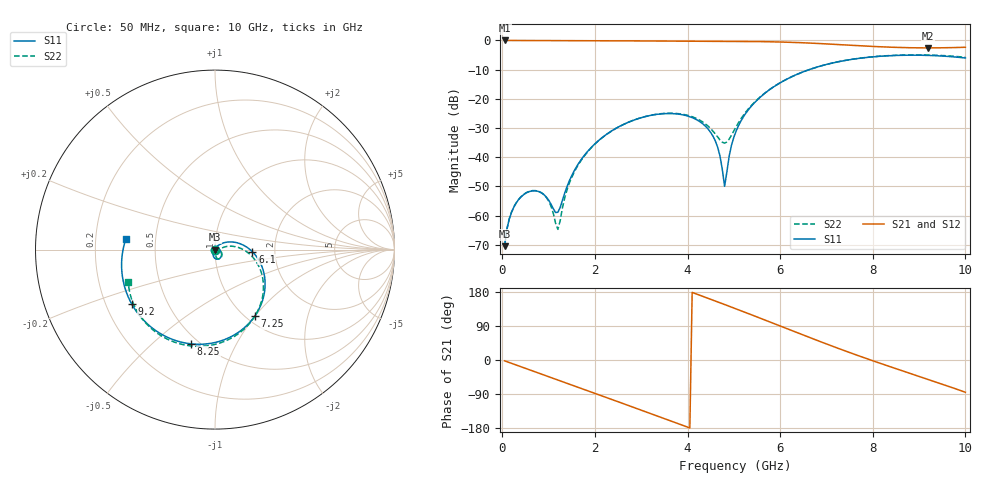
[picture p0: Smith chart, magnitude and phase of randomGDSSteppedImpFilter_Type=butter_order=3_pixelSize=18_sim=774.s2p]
! freq	dB(S11)	phase(S11)	dB(S12)	phase(S12)
!  dB(S21)	phase(S21)	dB(S22)	phase(S22)
!S-par simulation data
#  GHz  S  DB  R 50
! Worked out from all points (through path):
!   200 points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, 50 MHz to 10 GHz, reference 50 ohm
!   highest |S21| = 0.00 dB at 50 MHz (marker M1); lowest = -2.6 dB at 9.2 GHz (marker M2)
!   group delay of S21, straight-line fit = 125 ps
!   lowest |S11| = -70.5 dB at 50 MHz (marker M3), VSWR 1.00, Z = 50 - j0.0295 ohm
!   |S11| at or under -10 dB: start of sweep to 6.626 GHz
!   |S22| runs from -70.4 to -4.9 dB; largest |S21 - S12| = 0
!   S11 on the Smith chart (normalised r, x): 50 MHz: 1.00, -0.00; 6.1 GHz: 1.52, -0.04; 7.25 GHz: 1.10, -1.00; 8.25 GHz: 0.45, -0.67; 9.2 GHz: 0.31, -0.27; 10 GHz: 0.33, +0.05
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0.05  -70.48 -80.5  -0.00 -2.2  -0.00 -2.2  -70.40 -80.3
0.25  -57.08 -100.3  -0.02 -11.1  -0.02 -11.1  -57.00 -98.8
0.6  -51.70 -121.2  -0.03 -26.4  -0.03 -26.4  -51.61 -116.7
0.95  -53.65 -150.6  -0.05 -41.8  -0.05 -41.8  -53.75 -138.4
1.2  -58.88 124.6  -0.06 -52.8  -0.06 -52.8  -64.72 132.5
1.45  -48.02 50.6  -0.07 -63.8  -0.07 -63.8  -48.82 42.2
1.75  -39.82 25.5  -0.08 -77.0  -0.08 -77.0  -40.03 22.4
2.55  -29.28 -18.4  -0.13 -112.4  -0.13 -112.4  -29.31 -16.8
3.4  -25.20 -59.0  -0.20 -150.2  -0.20 -150.2  -25.13 -52.8
4.45  -30.46 -111.0  -0.27 162.5  -0.27 162.5  -29.45 -81.5
4.65  -36.54 -126.4  -0.28 153.4  -0.28 153.4  -33.07 -69.3
4.8  -49.97 157.4  -0.29 146.4  -0.29 146.4  -35.16 -37.0
4.9  -39.51 70.6  -0.30 141.8  -0.30 141.8  -33.78 -10.4
5.05  -31.01 52.9  -0.31 134.8  -0.31 134.8  -29.54 10.1
5.45  -21.26 29.5  -0.37 116.0  -0.37 116.0  -21.09 12.6
6.1  -13.63 -3.2  -0.57 85.0  -0.57 85.0  -13.61 -10.2
6.7  -9.60 -32.6  -0.94 56.4  -0.94 56.4  -9.60 -35.5
7.25  -7.31 -58.8  -1.40 30.9  -1.40 30.9  -7.31 -58.8
8.25  -5.33 -104.1  -2.23 -12.5  -2.23 -12.5  -5.28 -98.4
8.35  -5.24 -108.5  -2.29 -16.6  -2.29 -16.6  -5.18 -102.2
9.2  -5.12 -146.6  -2.55 -51.4  -2.55 -51.4  -4.99 -132.6
10  -6.02 173.1  -2.33 -85.2  -2.33 -85.2  -5.76 -159.7
